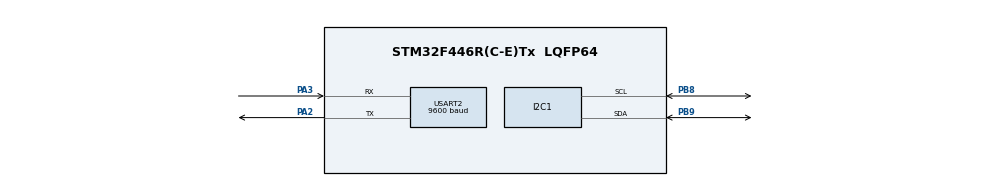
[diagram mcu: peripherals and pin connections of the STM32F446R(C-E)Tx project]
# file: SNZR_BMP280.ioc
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Mcu.Family=STM32F4
Mcu.Name=STM32F446R(C-E)Tx
Mcu.Package=LQFP64
NVIC.PriorityGroup=NVIC_PRIORITYGROUP_4
PA13.Mode=Serial_Wire
PA13.Signal=SYS_JTMS-SWDIO
PA14.Mode=Serial_Wire
PA14.Signal=SYS_JTCK-SWCLK
PA2.Mode=Asynchronous
PA2.Signal=USART2_TX
PA3.Mode=Asynchronous
PA3.Signal=USART2_RX
PB8.Mode=I2C
PB8.Signal=I2C1_SCL
PB9.Mode=I2C
PB9.Signal=I2C1_SDA
ProjectManager.HeapSize=0x200
ProjectManager.StackSize=0x400
ProjectManager.TargetToolchain=STM32CubeIDE
RCC.CortexFreq_Value=16000000
RCC.USBFreq_Value=96000000
RCC.VCOOutputFreq_Value=192000000
USART2.BaudRate=9600
USART2.VirtualMode=VM_ASYNC
board=custom

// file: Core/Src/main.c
/* USER CODE BEGIN Header */
/**
  ******************************************************************************
  * @file           : main.c
  * @brief          : Main program body
  ******************************************************************************
  * @attention
  *
  * Copyright (c) 2023 STMicroelectronics.
  * All rights reserved.
  *
  * This software is licensed under terms that can be found in the LICENSE file
  * in the root directory of this software component.
  * If no LICENSE file comes with this software, it is provided AS-IS.
  *
  ******************************************************************************
  */
/* USER CODE END Header */
#include "main.h"
#include "i2c.h"
#include "usart.h"
#include "gpio.h"

/* USER CODE BEGIN Includes */
#include "BSP/bmp280.h"
#include "stdio.h"
#include "string.h"
/* USER CODE END Includes */

/* USER CODE BEGIN PV */
BMP280_HandleTypedef bmp280;

float pressure, temperature, humidity;

uint16_t size;
uint8_t Data[256];
/* USER CODE END PV */

void SystemClock_Config(void);
/* USER CODE BEGIN PFP */
#ifdef __GNUC__
#define PUTCHAR_PROTOTYPE int __io_putchar(int ch)
#else
#define PUTCHAR_PROTOTYPE int fputc(int ch, FILE *f)
#endif

PUTCHAR_PROTOTYPE
{
  HAL_UART_Transmit(&huart2, (uint8_t *)&ch, 1, HAL_MAX_DELAY);
  return ch;
}
/* USER CODE END PFP */

int main(void)
{

  /* MCU Configuration--------------------------------------------------------*/

  /* Reset of all peripherals, Initializes the Flash interface and the Systick. */
  HAL_Init();

  /* Configure the system clock */
  SystemClock_Config();

  /* Initialize all configured peripherals */
  MX_GPIO_Init();
  MX_I2C1_Init();
  MX_USART2_UART_Init();

  /* Infinite loop */
  /* USER CODE BEGIN WHILE */

  bmp280_init_default_params(&bmp280.params);
  bmp280.addr = BMP280_I2C_ADDRESS_0;
  bmp280.i2c = &hi2c1;

  while (!bmp280_init(&bmp280, &bmp280.params)) {
  	size = sprintf((char *)Data, "BMP280 initialization failed\r\n");
  	HAL_UART_Transmit(&huart2, Data, size, 1000);
  	HAL_Delay(2000);
  }
  bool bme280p = bmp280.id == BME280_CHIP_ID;
  size = sprintf((char *)Data, "BMP280: found %s\r\n", bme280p ? "BME280" : "BMP280");
  HAL_UART_Transmit(&huart2, Data, size, 1000);

  while (1)
  {
	  HAL_Delay(100);
	  while (!bmp280_read_float(&bmp280, &temperature, &pressure, &humidity)) {
	  		size = sprintf((char *)Data, "Temperature/pressure reading failed\r\n");
	  		HAL_UART_Transmit(&huart2, Data, size, 1000);
	  		HAL_Delay(2000);
	  		}

	  		size = sprintf((char *)Data,"Temperatura: %.2f C\r", temperature);
	  		HAL_UART_Transmit(&huart2, Data, size, 1000);

	  		/*if (bme280p) {
	  			size = sprintf((char *)Data,", Humidity: %.2f\n", humidity);
	  			HAL_UART_Transmit(&huart2, Data, size, 1000);
	  		}
	  		else {
	  			size = sprintf((char *)Data, "\n");
	  			HAL_UART_Transmit(&huart2, Data, size, 1000);
	  		}*/
	  		HAL_Delay(500);
    /* USER CODE END WHILE */

  }
}

void SystemClock_Config(void)
{
  RCC_OscInitTypeDef RCC_OscInitStruct = {0};
  RCC_ClkInitTypeDef RCC_ClkInitStruct = {0};

  /** Configure the main internal regulator output voltage
  */
  __HAL_RCC_PWR_CLK_ENABLE();
  __HAL_PWR_VOLTAGESCALING_CONFIG(PWR_REGULATOR_VOLTAGE_SCALE3);

  /** Initializes the RCC Oscillators according to the specified parameters
  * in the RCC_OscInitTypeDef structure.
  */
  RCC_OscInitStruct.OscillatorType = RCC_OSCILLATORTYPE_HSI;
  RCC_OscInitStruct.HSIState = RCC_HSI_ON;
  RCC_OscInitStruct.HSICalibrationValue = RCC_HSICALIBRATION_DEFAULT;
  RCC_OscInitStruct.PLL.PLLState = RCC_PLL_NONE;
  if (HAL_RCC_OscConfig(&RCC_OscInitStruct) != HAL_OK)
  {
    Error_Handler();
  }

  /** Initializes the CPU, AHB and APB buses clocks
  */
  RCC_ClkInitStruct.ClockType = RCC_CLOCKTYPE_HCLK|RCC_CLOCKTYPE_SYSCLK
                              |RCC_CLOCKTYPE_PCLK1|RCC_CLOCKTYPE_PCLK2;
  RCC_ClkInitStruct.SYSCLKSource = RCC_SYSCLKSOURCE_HSI;
  RCC_ClkInitStruct.AHBCLKDivider = RCC_SYSCLK_DIV1;
  RCC_ClkInitStruct.APB1CLKDivider = RCC_HCLK_DIV1;
  RCC_ClkInitStruct.APB2CLKDivider = RCC_HCLK_DIV1;

  if (HAL_RCC_ClockConfig(&RCC_ClkInitStruct, FLASH_LATENCY_0) != HAL_OK)
  {
    Error_Handler();
  }
}

void Error_Handler(void)
{
  __disable_irq();
  while (1)
  {
  }
}
